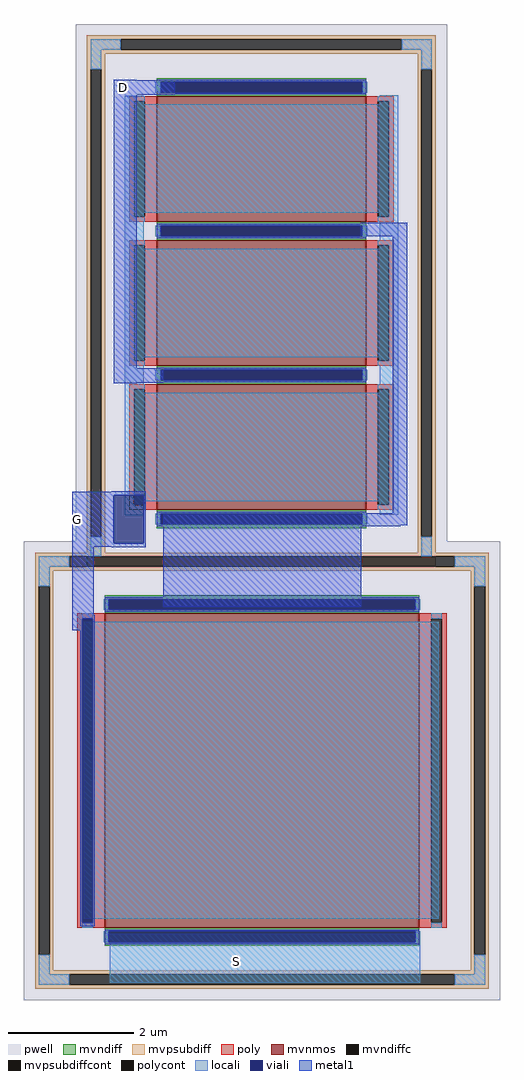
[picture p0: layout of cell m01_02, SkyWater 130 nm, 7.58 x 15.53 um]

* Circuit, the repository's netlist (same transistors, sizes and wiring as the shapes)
* NGSPICE file created from m01_02.ext - technology: sky130A

X0 D G sky130_fd_pr__nfet_g5v0d10v5_Y3KDPX_0/D S sky130_fd_pr__nfet_g5v0d10v5 ad=0.48285 pd=3.62 as=0.48285 ps=3.62 w=3.33 l=2
X1 sky130_fd_pr__nfet_g5v0d10v5_Y3KDPX_0/D G D S sky130_fd_pr__nfet_g5v0d10v5 ad=0.9657 pd=7.24 as=0.48285 ps=3.62 w=3.33 l=2
X2 sky130_fd_pr__nfet_g5v0d10v5_Y3KDPX_0/D G D S sky130_fd_pr__nfet_g5v0d10v5 ad=0.48285 pd=3.62 as=0.9657 ps=7.24 w=3.33 l=2
X3 S G sky130_fd_pr__nfet_g5v0d10v5_Y3KDPX_0/D S sky130_fd_pr__nfet_g5v0d10v5 ad=1.45 pd=10.58 as=1.45 ps=10.58 w=5 l=5

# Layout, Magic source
magic
tech sky130A
magscale 1 2
<< locali >>
rect 10264 10090 10324 10116
rect 11074 10090 11134 10118
rect 10264 9744 11134 10090
rect 10264 9630 10324 9744
rect 11074 9630 11134 9744
rect 10264 9284 11134 9630
rect 10264 9172 10324 9284
rect 11074 9172 11134 9284
rect 10264 8826 11134 9172
rect 10264 8782 10324 8826
rect 11074 8784 11134 8826
rect 10132 7498 11262 8442
rect 10216 7294 11204 7450
<< metal1 >>
rect 10234 10128 10286 10160
rect 10098 8724 10136 8802
rect 10386 8490 11016 8784
use sky130_fd_pr__nfet_g5v0d10v5_JNX2ZR  sky130_fd_pr__nfet_g5v0d10v5_JNX2ZR_0
transform 0 1 10698 -1 0 9457
box -888 -591 888 591
use sky130_fd_pr__nfet_g5v0d10v5_Y3KDPX  sky130_fd_pr__nfet_g5v0d10v5_Y3KDPX_0
transform 0 1 10700 -1 0 7969
box -2199 -758 730 758
<< labels >>
flabel metal1 10112 8768 10112 8768 0 FreeSans 1600 0 0 0 G
flabel locali 10620 7362 10620 7362 0 FreeSans 1600 0 0 0 S
flabel metal1 10260 10144 10260 10144 0 FreeSans 1600 0 0 0 D
<< end >>

# cell sky130_fd_pr__nfet_g5v0d10v5_JNX2ZR: kit device sky130_fd_pr__nfet_g5v0d10v5, w 3.33 l 2 m 1 nf 3 diffcov 100 polycov 100 guard 1 glc 1 grc 1 gtc 1 gbc 1 tbcov 100 rlcov 100 topc 1 botc 1 poverlap 0 doverlap 1 lmin 0.50 wmin 0.42 class mosfet compatible {sky130_fd_pr__nfet_01v8 sky130_fd_pr__nfet_01v8_lvt sky130_fd_bs_flash__special_sonosfet_star sky130_fd_pr__nfet_g5v0d10v5 sky130_fd_pr__nfet_05v0_nvt sky130_fd_pr__nfet_03v3_nvt} full_metal 1 conn_gates 0 viasrc 100 viadrn 100 viagate 100 viagb 0 viagr 0 viagl 0 viagt 0 doports 1

# cell sky130_fd_pr__nfet_g5v0d10v5_Y3KDPX: kit device sky130_fd_pr__nfet_g5v0d10v5, w 5 l 5 m 1 nf 1 diffcov 100 polycov 100 guard 1 glc 1 grc 1 gtc 1 gbc 1 tbcov 100 rlcov 100 topc 1 botc 1 poverlap 0 doverlap 1 lmin 0.50 wmin 0.42 class mosfet compatible {sky130_fd_pr__nfet_01v8 sky130_fd_pr__nfet_01v8_lvt sky130_fd_bs_flash__special_sonosfet_star sky130_fd_pr__nfet_g5v0d10v5 sky130_fd_pr__nfet_05v0_nvt sky130_fd_pr__nfet_03v3_nvt} full_metal 1 conn_gates 0 viasrc 100 viadrn 100 viagate 100 viagb 0 viagr 0 viagl 0 viagt 0 doports 1
